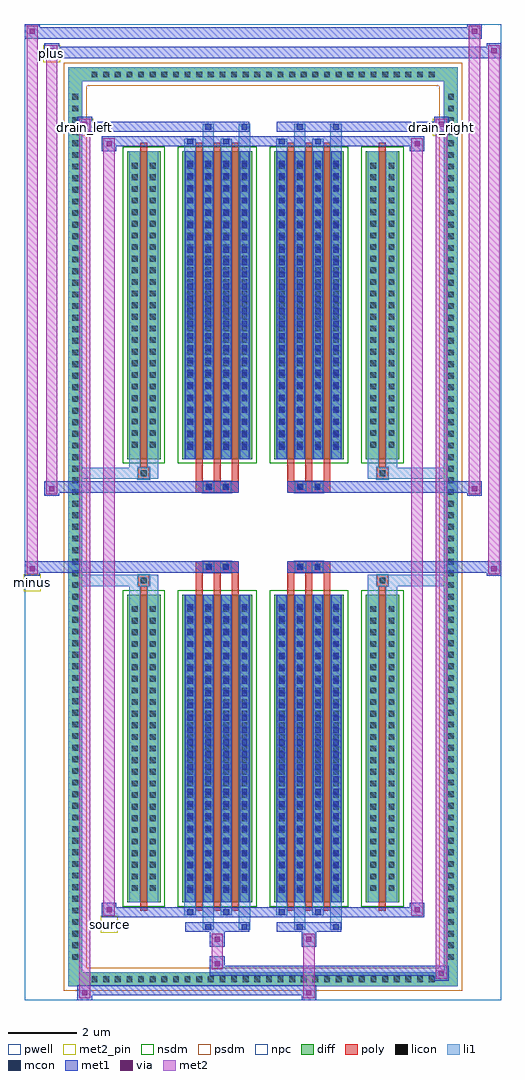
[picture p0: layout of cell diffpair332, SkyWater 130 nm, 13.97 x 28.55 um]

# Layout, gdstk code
import gdstk
lib = gdstk.Library(unit=1e-6, precision=5e-09)
def R(c, l, rs):  # rectangles x0, y0, x1, y1
    for r in rs: c.add(gdstk.rectangle(r[:2], r[2:], *l))
def A(c, l, x, y, w, h, nx, ny, dx, dy):  # array of equal rectangles
    R(c, l, [(x+i*dx, y+j*dy, x+i*dx+w, y+j*dy+h) for i in range(nx) for j in range(ny)])
def P(c, l, *ps):  # polygons
    for p in ps: c.add(gdstk.Polygon(p, *l))
pwell = (64, 44)
diff = (65, 20)
poly = (66, 20)
licon = (66, 44)
li1 = (67, 20)
mcon = (67, 44)
met1 = (68, 20)
via = (68, 44)
met2_pin = (69, 16)
met2 = (69, 20)
nsdm = (93, 44)
psdm = (94, 20)
npc = (95, 20)

diffpair332 = lib.new_cell('diffpair332')
R(diffpair332, pwell, [(-6.97,-13.84,6.97,14.71), (-4.29,-12.03,-0.01,-0.805), (0.01,-12.03,4.29,-0.805), (-4.29,0.805,-0.01,12.03), (0.01,0.805,4.29,12.03)])
A(diffpair332, diff, -5.135, -13.44, 0.41, 0.41, 30, 2, 0.34, 26.47)
A(diffpair332, diff, -5.7, -12.785, 0.41, 0.41, 1, 75, 0, 0.34)
A(diffpair332, diff, 5.29, -12.785, 0.41, 0.41, 1, 75, 0, 0.34)
R(diffpair332, diff, [(-5.135,-13.44,5.135,-13.03), (-5.7,-12.785,-5.29,12.785), (5.29,-12.785,5.7,12.785), (-3.98,-10.985,-3,-1.985), (-2.36,-10.985,-0.32,-1.985), (0.32,-10.985,2.36,-1.985), (3,-10.985,3.98,-1.985), (-3.98,1.985,-3,10.985), (-2.36,1.985,-0.32,10.985), (0.32,1.985,2.36,10.985), (3,1.985,3.98,10.985), (-5.135,13.03,5.135,13.44)])
P(diffpair332, diff, [(5.7,13.44),(-5.7,13.44),(-5.7,-13.03),(-5.29,-13.03),(-5.29,13.03),(5.29,13.03),(5.29,-13.03),(-5.29,-13.03),(-5.7,-13.03),(-5.7,-13.44),(5.7,-13.44)])
A(diffpair332, poly, -1.97, -11.235, 0.2, 9.5, 3, 2, 0.53, 12.97)
A(diffpair332, poly, 0.71, -11.235, 0.2, 9.5, 3, 2, 0.53, 12.97)
A(diffpair332, poly, -1.97, -1.735, 0.2, 0.4, 3, 2, 0.53, 3.07)
A(diffpair332, poly, 0.71, -1.735, 0.2, 0.4, 3, 2, 0.53, 3.07)
R(diffpair332, poly, [(-3.59,-11.235,-3.39,-1.735), (3.39,-11.235,3.59,-1.735), (-3.655,-1.735,-3.325,-1.405), (-3.655,-1.735,-3.325,-1.405), (3.325,-1.735,3.655,-1.405), (3.325,-1.735,3.655,-1.405), (-1.97,-1.335,-0.71,-1.005), (-1.755,-1.335,-1.425,-1.005), (-1.255,-1.335,-0.925,-1.005), (0.71,-1.335,1.97,-1.005), (0.925,-1.335,1.255,-1.005), (1.425,-1.335,1.755,-1.005), (-1.97,1.005,-0.71,1.335), (-1.755,1.005,-1.425,1.335), (-1.255,1.005,-0.925,1.335), (0.71,1.005,1.97,1.335), (0.925,1.005,1.255,1.335), (1.425,1.005,1.755,1.335), (-3.655,1.405,-3.325,1.735), (-3.655,1.405,-3.325,1.735), (3.325,1.405,3.655,1.735), (3.325,1.405,3.655,1.735), (-3.59,1.735,-3.39,11.235), (3.39,1.735,3.59,11.235)])
A(diffpair332, licon, -5.015, -13.32, 0.17, 0.17, 30, 2, 0.34, 26.47)
A(diffpair332, licon, -5.58, -12.665, 0.17, 0.17, 1, 75, 0, 0.34)
A(diffpair332, licon, 5.41, -12.665, 0.17, 0.17, 1, 75, 0, 0.34)
A(diffpair332, licon, -3.84, -10.65, 0.17, 0.17, 1, 25, 0, 0.34)
A(diffpair332, licon, -3.31, -10.65, 0.17, 0.17, 1, 25, 0, 0.34)
A(diffpair332, licon, -2.22, -10.65, 0.17, 0.17, 4, 25, 0.53, 0.34)
A(diffpair332, licon, 0.46, -10.65, 0.17, 0.17, 4, 25, 0.53, 0.34)
A(diffpair332, licon, 3.14, -10.65, 0.17, 0.17, 1, 25, 0, 0.34)
A(diffpair332, licon, 3.67, -10.65, 0.17, 0.17, 1, 25, 0, 0.34)
A(diffpair332, licon, -3.84, 2.32, 0.17, 0.17, 1, 25, 0, 0.34)
A(diffpair332, licon, -3.31, 2.32, 0.17, 0.17, 1, 25, 0, 0.34)
A(diffpair332, licon, -2.22, 2.32, 0.17, 0.17, 4, 25, 0.53, 0.34)
A(diffpair332, licon, 0.46, 2.32, 0.17, 0.17, 4, 25, 0.53, 0.34)
A(diffpair332, licon, 3.14, 2.32, 0.17, 0.17, 1, 25, 0, 0.34)
A(diffpair332, licon, 3.67, 2.32, 0.17, 0.17, 1, 25, 0, 0.34)
R(diffpair332, licon, [(-3.575,-1.655,-3.405,-1.485), (3.405,-1.655,3.575,-1.485), (-1.675,-1.255,-1.505,-1.085), (-1.175,-1.255,-1.005,-1.085), (1.005,-1.255,1.175,-1.085), (1.505,-1.255,1.675,-1.085), (-1.675,1.085,-1.505,1.255), (-1.175,1.085,-1.005,1.255), (1.005,1.085,1.175,1.255), (1.505,1.085,1.675,1.255), (-3.575,1.485,-3.405,1.655), (3.405,1.485,3.575,1.655)])
A(diffpair332, li1, -5.095, -13.4, 0.33, 0.33, 30, 2, 0.34, 26.47)
A(diffpair332, li1, -5.66, -12.745, 0.33, 0.33, 1, 75, 0, 0.34)
A(diffpair332, li1, 5.33, -12.745, 0.33, 0.33, 1, 75, 0, 0.34)
A(diffpair332, li1, -2.3, -10.985, 0.33, 9, 4, 2, 0.53, 12.97)
A(diffpair332, li1, 0.38, -10.985, 0.33, 9, 4, 2, 0.53, 12.97)
A(diffpair332, li1, -3.92, -10.73, 0.33, 0.33, 1, 25, 0, 0.34)
A(diffpair332, li1, -3.39, -10.73, 0.33, 0.33, 1, 25, 0, 0.34)
A(diffpair332, li1, -2.3, -10.73, 0.33, 0.33, 4, 25, 0.53, 0.34)
A(diffpair332, li1, 0.38, -10.73, 0.33, 0.33, 4, 25, 0.53, 0.34)
A(diffpair332, li1, 3.06, -10.73, 0.33, 0.33, 1, 25, 0, 0.34)
A(diffpair332, li1, 3.59, -10.73, 0.33, 0.33, 1, 25, 0, 0.34)
A(diffpair332, li1, -2.22, -10.71, 0.17, 0.17, 4, 24, 0.53, 0.36)
A(diffpair332, li1, -2.22, -10.71, 0.17, 8.45, 4, 2, 0.53, 12.97)
A(diffpair332, li1, 0.46, -10.71, 0.17, 0.17, 4, 24, 0.53, 0.36)
A(diffpair332, li1, 0.46, -10.71, 0.17, 8.45, 4, 2, 0.53, 12.97)
A(diffpair332, li1, -3.92, 2.24, 0.33, 0.33, 1, 25, 0, 0.34)
A(diffpair332, li1, -3.39, 2.24, 0.33, 0.33, 1, 25, 0, 0.34)
A(diffpair332, li1, -2.3, 2.24, 0.33, 0.33, 4, 25, 0.53, 0.34)
A(diffpair332, li1, 0.38, 2.24, 0.33, 0.33, 4, 25, 0.53, 0.34)
A(diffpair332, li1, 3.06, 2.24, 0.33, 0.33, 1, 25, 0, 0.34)
A(diffpair332, li1, 3.59, 2.24, 0.33, 0.33, 1, 25, 0, 0.34)
A(diffpair332, li1, -2.22, 2.26, 0.17, 0.17, 4, 24, 0.53, 0.36)
A(diffpair332, li1, 0.46, 2.26, 0.17, 0.17, 4, 24, 0.53, 0.36)
R(diffpair332, li1, [(-5.7,-13.44,-5.29,-13.03), (-5.7,-13.44,-5.29,-13.03), (-5.29,-13.44,5.29,-13.03), (5.29,-13.44,5.7,-13.03), (5.29,-13.44,5.7,-13.03), (-5.7,-13.03,-5.29,13.03), (5.29,-13.03,5.7,13.03), (-1.77,-11.79,-1.44,-10.985), (-1.69,-11.79,-1.52,-11.62), (-0.71,-11.79,-0.38,-10.985), (-0.63,-11.79,-0.46,-11.62), (0.91,-11.79,1.24,-10.985), (0.99,-11.79,1.16,-11.62), (1.97,-11.79,2.3,-10.985), (2.05,-11.79,2.22,-11.62), (-2.3,-11.36,-1.97,-10.985), (-2.22,-11.36,-2.05,-11.19), (-1.24,-11.36,-0.91,-10.985), (-1.16,-11.36,-0.99,-11.19), (0.38,-11.36,0.71,-10.985), (0.46,-11.36,0.63,-11.19), (1.44,-11.36,1.77,-10.985), (1.52,-11.36,1.69,-11.19), (-3.92,-10.985,-3.59,-1.985), (-3.39,-10.985,-3.06,-1.985), (3.06,-10.985,3.39,-1.985), (3.59,-10.985,3.92,-1.985), (-3.92,-1.985,-3.59,-1.405), (-3.39,-1.985,-3.06,-1.405), (3.06,-1.985,3.39,-1.405), (3.59,-1.985,3.92,-1.405), (-5.7,-1.735,-3.655,-1.405), (-3.92,-1.735,-3.655,-1.405), (-3.655,-1.735,-3.325,-1.405), (-3.325,-1.735,-3.06,-1.405), (3.06,-1.735,3.325,-1.405), (3.325,-1.735,3.655,-1.405), (3.325,-1.735,5.7,-1.405), (3.655,-1.735,3.92,-1.405), (-1.755,-1.335,-1.425,-1.005), (-1.255,-1.335,-0.925,-1.005), (0.925,-1.335,1.255,-1.005), (1.425,-1.335,1.755,-1.005), (-1.755,1.005,-1.425,1.335), (-1.255,1.005,-0.925,1.335), (0.925,1.005,1.255,1.335), (1.425,1.005,1.755,1.335), (-5.7,1.405,-3.655,1.735), (-3.92,1.405,-3.655,1.735), (-3.92,1.405,-3.59,1.985), (-3.655,1.405,-3.325,1.735), (-3.39,1.405,-3.06,1.985), (-3.325,1.405,-3.06,1.735), (3.06,1.405,3.325,1.735), (3.06,1.405,3.39,1.985), (3.325,1.405,3.655,1.735), (3.325,1.405,5.7,1.735), (3.59,1.405,3.92,1.985), (3.655,1.405,3.92,1.735), (-3.92,1.985,-3.59,10.985), (-3.39,1.985,-3.06,10.985), (3.06,1.985,3.39,10.985), (3.59,1.985,3.92,10.985), (-2.3,10.985,-1.97,11.36), (-1.77,10.985,-1.44,11.79), (-1.24,10.985,-0.91,11.36), (-0.71,10.985,-0.38,11.79), (0.38,10.985,0.71,11.36), (0.91,10.985,1.24,11.79), (1.44,10.985,1.77,11.36), (1.97,10.985,2.3,11.79), (-2.22,11.19,-2.05,11.36), (-1.16,11.19,-0.99,11.36), (0.46,11.19,0.63,11.36), (1.52,11.19,1.69,11.36), (-1.69,11.62,-1.52,11.79), (-0.63,11.62,-0.46,11.79), (0.99,11.62,1.16,11.79), (2.05,11.62,2.22,11.79), (-5.7,13.03,-5.29,13.44), (-5.7,13.03,-5.29,13.44), (-5.29,13.03,5.29,13.44), (5.29,13.03,5.7,13.44), (5.29,13.03,5.7,13.44)])
A(diffpair332, mcon, -2.22, -10.71, 0.17, 0.17, 4, 24, 0.53, 0.36)
A(diffpair332, mcon, 0.46, -10.71, 0.17, 0.17, 4, 24, 0.53, 0.36)
A(diffpair332, mcon, -2.22, 2.26, 0.17, 0.17, 4, 24, 0.53, 0.36)
A(diffpair332, mcon, 0.46, 2.26, 0.17, 0.17, 4, 24, 0.53, 0.36)
R(diffpair332, mcon, [(-1.69,-11.79,-1.52,-11.62), (-0.63,-11.79,-0.46,-11.62), (0.99,-11.79,1.16,-11.62), (2.05,-11.79,2.22,-11.62), (-2.22,-11.36,-2.05,-11.19), (-1.16,-11.36,-0.99,-11.19), (0.46,-11.36,0.63,-11.19), (1.52,-11.36,1.69,-11.19), (-1.675,-1.255,-1.505,-1.085), (-1.175,-1.255,-1.005,-1.085), (1.005,-1.255,1.175,-1.085), (1.505,-1.255,1.675,-1.085), (-1.675,1.085,-1.505,1.255), (-1.175,1.085,-1.005,1.255), (1.005,1.085,1.175,1.255), (1.505,1.085,1.675,1.255), (-2.22,11.19,-2.05,11.36), (-1.16,11.19,-0.99,11.36), (0.46,11.19,0.63,11.36), (1.52,11.19,1.69,11.36), (-1.69,11.62,-1.52,11.79), (-0.63,11.62,-0.46,11.79), (0.99,11.62,1.16,11.79), (2.05,11.62,2.22,11.79)])
A(diffpair332, met1, -2.28, -10.985, 0.29, 9, 4, 2, 0.53, 12.97)
A(diffpair332, met1, 0.4, -10.985, 0.29, 9, 4, 2, 0.53, 12.97)
A(diffpair332, met1, -2.28, -10.77, 0.29, 0.29, 4, 24, 0.53, 0.36)
A(diffpair332, met1, 0.4, -10.77, 0.29, 0.29, 4, 24, 0.53, 0.36)
A(diffpair332, met1, -2.28, 2.2, 0.29, 0.29, 4, 24, 0.53, 0.36)
A(diffpair332, met1, 0.4, 2.2, 0.29, 0.29, 4, 24, 0.53, 0.36)
R(diffpair332, met1, [(-5.43,-13.84,-5,-13.41), (1.125,-13.84,1.555,-13.41), (-5.43,-13.7,1.555,-13.41), (5,-13.27,5.43,-12.84), (-1.555,-13.13,5.43,-12.84), (-1.555,-12.99,-1.125,-12.56), (-1.555,-12.28,-1.125,-11.85), (1.125,-12.28,1.555,-11.85), (-2.28,-11.85,-0.4,-11.56), (-1.75,-11.85,-1.46,-11.56), (-0.69,-11.85,-0.4,-11.56), (0.4,-11.85,2.28,-11.56), (0.93,-11.85,1.22,-11.56), (1.99,-11.85,2.28,-11.56), (-4.72,-11.42,-4.29,-10.99), (-4.72,-11.42,-2.28,-11.13), (-2.28,-11.42,-1.99,-11.13), (-2.28,-11.42,-0.4,-11.13), (-1.22,-11.42,-0.93,-11.13), (-0.4,-11.42,0.4,-11.13), (0.4,-11.42,0.69,-11.13), (0.4,-11.42,2.28,-11.13), (1.46,-11.42,1.75,-11.13), (2.28,-11.42,4.72,-11.13), (4.29,-11.42,4.72,-10.99), (-6.97,-1.435,-6.54,-1.005), (6.54,-1.435,6.97,-1.005), (-6.97,-1.335,-0.71,-1.005), (-1.97,-1.335,-0.71,-1.005), (0.71,-1.335,1.97,-1.005), (0.71,-1.335,6.97,-1.005), (-1.735,-1.315,-1.445,-1.025), (-1.235,-1.315,-0.945,-1.025), (0.945,-1.315,1.235,-1.025), (1.445,-1.315,1.735,-1.025), (-6.4,0.905,-5.97,1.335), (5.97,0.905,6.4,1.335), (-6.4,1.005,-1.97,1.335), (-1.97,1.005,-0.71,1.335), (0.71,1.005,1.97,1.335), (1.97,1.005,6.4,1.335), (-1.735,1.025,-1.445,1.315), (-1.235,1.025,-0.945,1.315), (0.945,1.025,1.235,1.315), (1.445,1.025,1.735,1.315), (-4.72,10.99,-4.29,11.42), (4.29,10.99,4.72,11.42), (-4.72,11.13,-2.28,11.42), (-2.28,11.13,-1.99,11.42), (-2.28,11.13,-0.4,11.42), (-1.22,11.13,-0.93,11.42), (-0.4,11.13,0.4,11.42), (0.4,11.13,0.69,11.42), (0.4,11.13,2.28,11.42), (1.46,11.13,1.75,11.42), (2.28,11.13,4.72,11.42), (-5.43,11.56,-5,11.99), (-5.43,11.56,-2.28,11.85), (-2.28,11.56,-0.4,11.85), (-1.75,11.56,-1.46,11.85), (-0.69,11.56,-0.4,11.85), (0.4,11.56,2.28,11.85), (0.93,11.56,1.22,11.85), (1.99,11.56,2.28,11.85), (2.28,11.56,5.43,11.85), (5,11.56,5.43,11.99), (-6.4,13.71,-5.97,14.14), (-6.4,13.71,-4.29,14.04), (-4.29,13.71,4.29,14.04), (4.29,13.71,6.97,14.04), (6.54,13.71,6.97,14.14), (-6.97,14.28,-6.54,14.71), (-6.97,14.28,-4.29,14.61), (-4.29,14.28,4.29,14.61), (4.29,14.28,6.4,14.61), (5.97,14.28,6.4,14.71)])
R(diffpair332, via, [(-5.29,-13.7,-5.14,-13.55), (1.265,-13.7,1.415,-13.55), (5.14,-13.13,5.29,-12.98), (-1.415,-12.85,-1.265,-12.7), (-1.415,-12.14,-1.265,-11.99), (1.265,-12.14,1.415,-11.99), (-4.58,-11.28,-4.43,-11.13), (4.43,-11.28,4.58,-11.13), (-6.83,-1.295,-6.68,-1.145), (6.68,-1.295,6.83,-1.145), (-6.26,1.045,-6.11,1.195), (6.11,1.045,6.26,1.195), (-4.58,11.13,-4.43,11.28), (4.43,11.13,4.58,11.28), (-5.29,11.7,-5.14,11.85), (5.14,11.7,5.29,11.85), (-6.26,13.85,-6.11,14), (6.68,13.85,6.83,14), (-6.83,14.42,-6.68,14.57), (6.11,14.42,6.26,14.57)])
R(diffpair332, met2_pin, [(-4.755,-11.87,-4.255,-11.37), (-7.005,-1.885,-6.505,-1.385), (-5.465,11.44,-4.965,11.94), (4.965,11.44,5.465,11.94), (-6.435,13.59,-5.935,14.09)])
R(diffpair332, met2, [(-5.38,-13.79,-5.05,-13.46), (-5.38,-13.79,-5.05,11.94), (1.175,-13.79,1.505,-13.46), (1.175,-13.46,1.505,-12.23), (5.05,-13.22,5.38,-12.89), (5.05,-13.22,5.38,11.94), (-1.505,-12.94,-1.175,-12.61), (-1.505,-12.61,-1.175,-12.23), (-1.505,-12.23,-1.175,-11.9), (1.175,-12.23,1.505,-11.9), (-4.67,-11.37,-4.34,-11.04), (-4.67,-11.37,-4.34,11.37), (4.34,-11.37,4.67,-11.04), (4.34,-11.37,4.67,11.37), (-6.92,-1.385,-6.59,-1.055), (-6.92,-1.385,-6.59,14.66), (6.59,-1.385,6.92,-1.055), (6.59,-1.385,6.92,14.09), (-6.35,0.955,-6.02,1.285), (-6.35,0.955,-6.02,14.09), (6.02,0.955,6.35,1.285), (6.02,0.955,6.35,14.66), (-4.67,11.04,-4.34,11.37), (4.34,11.04,4.67,11.37), (-5.38,11.61,-5.05,11.94), (5.05,11.61,5.38,11.94), (-6.35,13.76,-6.02,14.09), (6.59,13.76,6.92,14.09), (-6.92,14.33,-6.59,14.66), (6.02,14.33,6.35,14.66)])
P(diffpair332, met2, [(6.92,-1.385),(6.92,-1.385),(6.92,-1.055),(6.92,-1.055)],
  [(6.92,13.76),(6.92,13.76),(6.92,14.09),(6.92,14.09)],
  [(-6.59,-1.385),(-6.59,-1.385),(-6.59,-1.055),(-6.59,-1.055)],
  [(-6.59,14.33),(-6.59,14.33),(-6.59,14.66),(-6.59,14.66)],
  [(6.35,0.955),(6.35,0.955),(6.35,1.285),(6.35,1.285)],
  [(6.35,14.33),(6.35,14.33),(6.35,14.66),(6.35,14.66)],
  [(-6.02,0.955),(-6.02,0.955),(-6.02,1.285),(-6.02,1.285)],
  [(-6.02,13.76),(-6.02,13.76),(-6.02,14.09),(-6.02,14.09)],
  [(-5.05,-13.79),(-5.05,-13.79),(-5.05,-13.46),(-5.05,-13.46)],
  [(-5.05,11.61),(-5.05,11.61),(-5.05,11.94),(-5.05,11.94)],
  [(5.38,-13.22),(5.38,-13.22),(5.38,-12.89),(5.38,-12.89)],
  [(5.38,11.61),(5.38,11.61),(5.38,11.94),(5.38,11.94)],
  [(-4.34,-11.37),(-4.34,-11.37),(-4.34,-11.04),(-4.34,-11.04)],
  [(-4.34,11.04),(-4.34,11.04),(-4.34,11.37),(-4.34,11.37)],
  [(4.67,-11.37),(4.67,-11.37),(4.67,-11.04),(4.67,-11.04)],
  [(4.67,11.04),(4.67,11.04),(4.67,11.37),(4.67,11.37)])
R(diffpair332, nsdm, [(-4.11,-11.115,-2.87,-1.855), (-2.49,-11.115,-0.19,-1.855), (0.19,-11.115,2.49,-1.855), (2.87,-11.115,4.11,-1.855), (-4.11,1.855,-2.87,11.115), (-2.49,1.855,-0.19,11.115), (0.19,1.855,2.49,11.115), (2.87,1.855,4.11,11.115)])
P(diffpair332, psdm, [(5.83,13.57),(-5.83,13.57),(-5.83,-12.9),(-5.16,-12.9),(-5.16,12.9),(5.16,12.9),(5.16,-12.9),(-5.16,-12.9),(-5.83,-12.9),(-5.83,-13.57),(5.83,-13.57)])
R(diffpair332, npc, [(-3.675,-1.755,-3.305,-1.385), (3.305,-1.755,3.675,-1.385), (-1.775,-1.355,-1.405,-0.985), (-1.775,-1.355,-0.905,-0.985), (-1.775,-1.355,-0.905,-0.985), (-1.275,-1.355,-0.905,-0.985), (0.905,-1.355,1.275,-0.985), (0.905,-1.355,1.775,-0.985), (0.905,-1.355,1.775,-0.985), (1.405,-1.355,1.775,-0.985), (-1.775,0.985,-1.405,1.355), (-1.775,0.985,-0.905,1.355), (-1.775,0.985,-0.905,1.355), (-1.275,0.985,-0.905,1.355), (0.905,0.985,1.275,1.355), (0.905,0.985,1.775,1.355), (0.905,0.985,1.775,1.355), (1.405,0.985,1.775,1.355), (-3.675,1.385,-3.305,1.755), (3.305,1.385,3.675,1.755)])
diffpair332.add(gdstk.Label('minus', (-6.755,-1.635), layer=69, texttype=5))
diffpair332.add(gdstk.Label('drain_right', (5.215,11.69), layer=69, texttype=5))
diffpair332.add(gdstk.Label('drain_left', (-5.215,11.69), layer=69, texttype=5))
diffpair332.add(gdstk.Label('source', (-4.505,-11.62), layer=69, texttype=5))
diffpair332.add(gdstk.Label('plus', (-6.185,13.84), layer=69, texttype=5))

lib.write_gds('diffpair332.gds')
